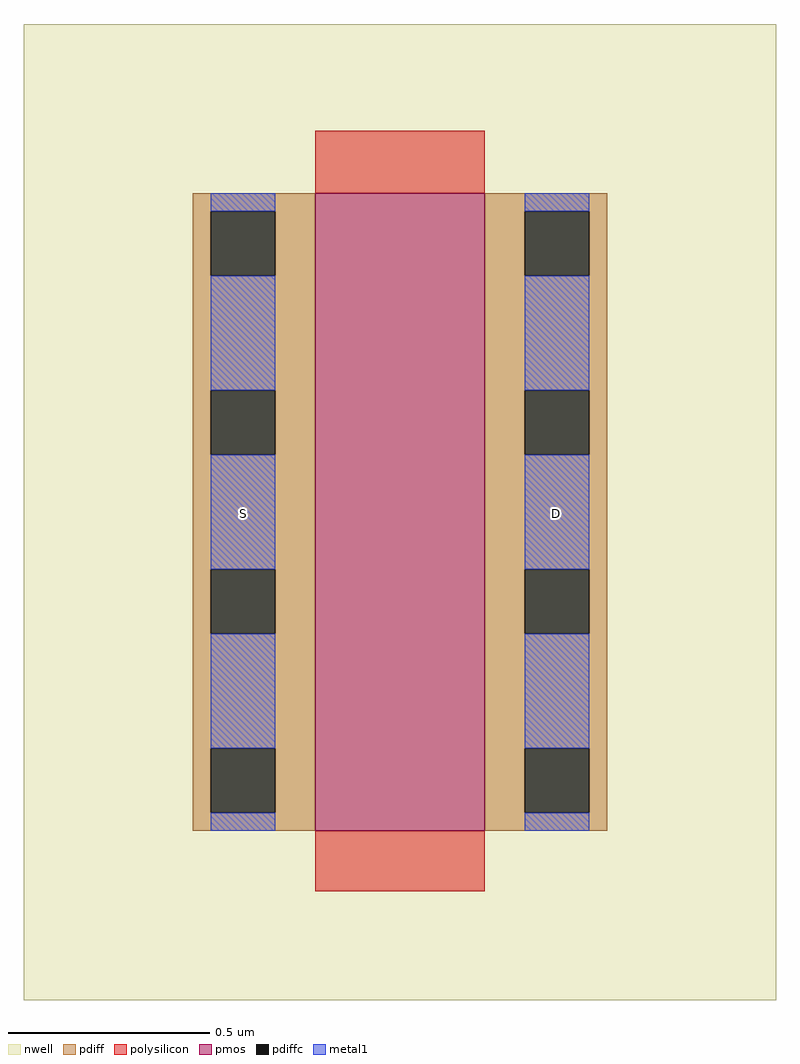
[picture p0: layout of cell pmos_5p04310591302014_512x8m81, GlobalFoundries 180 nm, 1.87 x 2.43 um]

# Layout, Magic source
magic
tech gf180mcuD
magscale 1 10
<< nwell >>
rect -145 -84 229 401
<< pmos >>
rect 0 0 84 317
<< pdiff >>
rect -61 308 0 317
rect -61 276 -52 308
rect -20 276 0 308
rect -61 219 0 276
rect -61 187 -52 219
rect -20 187 0 219
rect -61 130 0 187
rect -61 98 -52 130
rect -20 98 0 130
rect -61 41 0 98
rect -61 9 -52 41
rect -20 9 0 41
rect -61 0 0 9
rect 84 308 145 317
rect 84 276 104 308
rect 136 276 145 308
rect 84 219 145 276
rect 84 187 104 219
rect 136 187 145 219
rect 84 130 145 187
rect 84 98 104 130
rect 136 98 145 130
rect 84 41 145 98
rect 84 9 104 41
rect 136 9 145 41
rect 84 0 145 9
<< pdiffc >>
rect -52 276 -20 308
rect -52 187 -20 219
rect -52 98 -20 130
rect -52 9 -20 41
rect 104 276 136 308
rect 104 187 136 219
rect 104 98 136 130
rect 104 9 136 41
<< polysilicon >>
rect 0 317 84 348
rect 0 -30 84 0
<< metal1 >>
rect -52 308 -20 317
rect -52 219 -20 276
rect -52 130 -20 187
rect -52 41 -20 98
rect -52 0 -20 9
rect 104 308 136 317
rect 104 219 136 276
rect 104 130 136 187
rect 104 41 136 98
rect 104 0 136 9
<< labels >>
flabel metal1 -36 158 -36 158 0 FreeSans 280 0 0 0 S
flabel metal1 120 158 120 158 0 FreeSans 280 0 0 0 D
<< end >>
